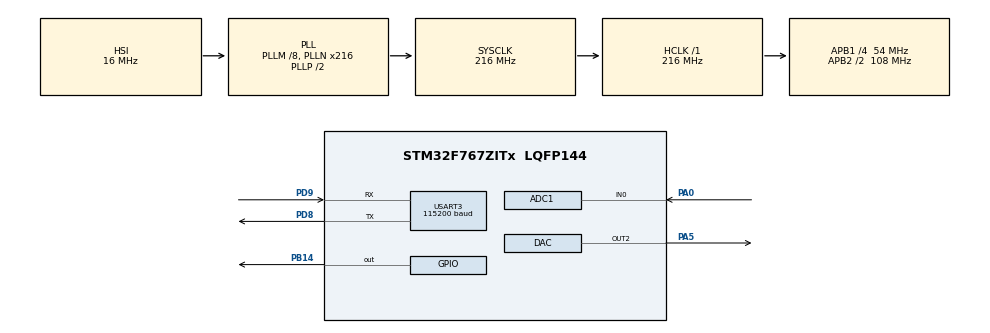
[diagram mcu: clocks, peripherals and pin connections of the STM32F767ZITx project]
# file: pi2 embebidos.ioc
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ADC1.Channel-2\#ChannelRegularConversion=ADC_CHANNEL_0
ADC1.NbrOfConversionFlag=1
ADC1.Rank-2\#ChannelRegularConversion=1
ADC1.SamplingTime-2\#ChannelRegularConversion=ADC_SAMPLETIME_3CYCLES
ADC1.master=1
DAC.DAC_Trigger2=DAC_TRIGGER_T2_TRGO
Dma.DAC2.0.Direction=DMA_MEMORY_TO_PERIPH
Dma.DAC2.0.FIFOMode=DMA_FIFOMODE_DISABLE
Dma.DAC2.0.Instance=DMA1_Stream6
Dma.DAC2.0.MemDataAlignment=DMA_MDATAALIGN_WORD
Dma.DAC2.0.MemInc=DMA_MINC_ENABLE
Dma.DAC2.0.Mode=DMA_CIRCULAR
Dma.DAC2.0.PeriphDataAlignment=DMA_PDATAALIGN_WORD
Dma.DAC2.0.PeriphInc=DMA_PINC_DISABLE
Dma.DAC2.0.Priority=DMA_PRIORITY_VERY_HIGH
Dma.Request0=DAC2
Mcu.Family=STM32F7
Mcu.Name=STM32F767ZITx
Mcu.Package=LQFP144
NVIC.ADC_IRQn=true\:0\:0\:false\:false\:true\:true\:true\:true
NVIC.DMA1_Stream6_IRQn=true\:0\:0\:false\:false\:true\:false\:true\:true
NVIC.PriorityGroup=NVIC_PRIORITYGROUP_4
NVIC.TIM2_IRQn=true\:0\:0\:false\:false\:true\:true\:true\:true
NVIC.TIM3_IRQn=true\:0\:0\:false\:false\:true\:true\:true\:true
NVIC.TIM4_IRQn=true\:0\:0\:false\:false\:true\:true\:true\:true
NVIC.USART3_IRQn=true\:0\:0\:false\:false\:true\:true\:true\:true
PA0/WKUP.Signal=ADCx_IN0
PA5.Signal=COMP_DAC2_group
PB14.Signal=GPIO_Output
PD8.Mode=Asynchronous
PD8.Signal=USART3_TX
PD9.Mode=Asynchronous
PD9.Signal=USART3_RX
ProjectManager.HeapSize=0x200
ProjectManager.StackSize=0x400
ProjectManager.TargetToolchain=STM32CubeIDE
RCC.AHBFreq_Value=216000000
RCC.APB1CLKDivider=RCC_HCLK_DIV4
RCC.APB1Freq_Value=54000000
RCC.APB1TimFreq_Value=108000000
RCC.APB2CLKDivider=RCC_HCLK_DIV2
RCC.APB2Freq_Value=108000000
RCC.APB2TimFreq_Value=216000000
RCC.CortexFreq_Value=216000000
RCC.HCLKFreq_Value=216000000
RCC.HSE_VALUE=25000000
RCC.HSI_VALUE=16000000
RCC.LSE_VALUE=32768
RCC.PLLM=8
RCC.PLLN=216
RCC.SYSCLKFreq_VALUE=216000000
RCC.SYSCLKSource=RCC_SYSCLKSOURCE_PLLCLK
RCC.USBFreq_Value=216000000
RCC.VCOOutputFreq_Value=432000000
SH.ADCx_IN0.0=ADC3_IN0
SH.ADCx_IN0.1=ADC1_IN0,IN0
SH.COMP_DAC2_group.0=DAC_OUT2,DAC_OUT2
TIM2.Period=36000-1
TIM2.Prescaler=1-1
TIM2.TIM_MasterOutputTrigger=TIM_TRGO_UPDATE
TIM3.Period=10799
TIM3.Prescaler=0
TIM4.Prescaler=1000
USART3.BaudRate=115200
USART3.VirtualMode-Asynchronous=VM_ASYNC
VP_TIM2_VS_ClockSourceINT.Mode=Internal
VP_TIM3_VS_ClockSourceINT.Mode=Internal
VP_TIM4_VS_ClockSourceINT.Mode=Internal
board=custom

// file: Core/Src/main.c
/* USER CODE BEGIN Header */
/**
  ******************************************************************************
  * @file           : main.c
  * @brief          : Main program body
  ******************************************************************************
  * @attention
  *
  * Copyright (c) 2023 STMicroelectronics.
  * All rights reserved.
  *
  * This software is licensed under terms that can be found in the LICENSE file
  * in the root directory of this software component.
  * If no LICENSE file comes with this software, it is provided AS-IS.
  *
  ******************************************************************************
  */
/* USER CODE END Header */
#include "main.h"
#include "adc.h"
#include "dac.h"
#include "dma.h"
#include "tim.h"
#include "usart.h"
#include "gpio.h"

/* USER CODE BEGIN Includes */
#include <stdio.h>
#include <string.h>
#include <stdlib.h>
#include <ctype.h>
#include <math.h>
#include "signal.h"
/* USER CODE END Includes */

/* USER CODE BEGIN PD */
#define RCC_base 0x40023800
#define GPIOA_base 0x40020000
#define GPIOAEN_Pos 0
#define GPIOxEN 1
#define nMODER_INPUT 0b11
#define OSPEEDRx 0b10
#define MODER_OUTPUT 0b01
/* USER CODE END PD */

/* USER CODE BEGIN PV */
uint32_t *ptr_RCC_RCC_AHB1ENR = RCC_base + 0x30; //os gpio's estao todos pendurados no AHB1 que tem offset de 0x30 em relação ao endereço base do RCC
uint32_t *ptr_GPIOx_GPIOx_MODER;
uint32_t *ptr_GPIOx_GPIOx_OSPEEDR;
uint32_t *ptr_GPIOx_GPIOx_IDR;
uint32_t *ptr_GPIOx_GPIOx_ODR;
uint32_t GPIOx_base;
uint32_t Samples;
uint32_t ADC_counter = 0;
uint8_t  can_print = 0;
volatile double ADC_Buffer[500];

/* USER CODE END PV */

void SystemClock_Config(void);
/* USER CODE BEGIN PFP */
void missing_arg(int x);
int __io_putchar(int ch)
{
	HAL_UART_Transmit(&huart3, (uint8_t *)&ch, 1, HAL_MAX_DELAY);
	return ch;
}
int __io_getchar(void)
{
	uint8_t ch = 0;
	__HAL_UART_CLEAR_OREFLAG(&huart3);
	HAL_UART_Receive(&huart3, (uint8_t *)&ch, 1, HAL_MAX_DELAY);
	HAL_UART_Transmit(&huart3, (uint8_t *)&ch, 1, HAL_MAX_DELAY);
	return ch;
}
/* USER CODE END PFP */

/* USER CODE BEGIN 0 */

static int Hexa_to_bin(int hexa,char setting)
	{
		itoa(hexa,setting,2);						//passa de hexadecimal para string em binario
		return strtoul(setting, NULL, 2);			//passa de string em binario para int binario
	}
void comandos(char* INPUT)
{
if(flag_RX == 1){
	const char* time_units[5]={"s","ms","us","ns"};
	const char* KEYS[18] = {"empty","MR","MW","MI","MO","RD","WD","RA","WG","SP","AC","S","ST","\b","ESC","$","?","VER"};
	const char* WAVES[6] = {"empty","SIN","SQR","TRI","STW","OFF"};
	const char DIVISON[1]= ".";
	char *arg_char[5];
	char *token;
	char SettingChar[17];
	char ValueChar;
	int arg_Hexa[4];
	int arg_Dec;
	static int index=0;
    int counter = 0;
	static int state;
	int Wave_state;
	int bit;
	int Port_num;
	unsigned long int SettingINT;
	unsigned long int ValueINT;
	static double Samp_Per;

	uint8_t *Mem_ptr;

	flag_RX=0;

int missing_arg(int args)
	{
		if(counter != args)
		{
			state = 0;
			printf("[ERRO]\r\n");
			return 1;
		}
	}

	token = strtok(INPUT,DIVISON);							 //separa as letras dos numeros
	arg_char[0] = token;
	for(index = 0;index< strlen(arg_char[0]);index++)
	{
		arg_char[0][index] = toupper(arg_char[0][index]);	 // garante que todas as letras sejam maiusculas
	}
	while (token != NULL) 									 // guarda as variaveis arg[1],[2]e[3]
		{

			token = strtok(NULL,DIVISON);
			counter ++;
			arg_char[counter] = token;
		}
	if(counter == 1){                   					// Quando so recebe uma palavra (VER,?,$..) coloca o ultimo caracter a null para a string ficar apenas com os digitos que tambem tem no array
		arg_char[0][strlen(arg_char[0])-1] = '\0';
	}

	for(index=1;index<=17;index++) 							//decide o estado se o valor introduzido for igual a algum do array
		{

			if( strcmp(arg_char[0],KEYS[index]) == 0)
				{
					state = index;
				}
		}

	for (index=0;index<3;index++) //passa as variaveis de char* para um array de inteiros hexadecimais
		{

			arg_Hexa[index] = strtol(arg_char[index+1], NULL, 16); //converte a string num numero de base 16(hexadecimal)

		}
	switch(state)
	{
		case 1:	// MEMORY READ (MR) MR.1.2
			 if (missing_arg(3)==1) {
			            break; 							   // Sai do switch case se ocorrer um erro na função
			        }

			Mem_ptr = arg_Hexa[0];
			for (index =0; index < arg_Hexa[1];index++)
				{
					printf("O endereco %p contem [%x]\r\n",Mem_ptr++,*Mem_ptr);
				}
		//	printf("O programa vai ler %s posicoes de memoria, a partir do endereco %s\r\n", arg[1], arg[2]);
			state = 0;
			break;
		case 2:	// MEMORY WRITE(MW)
			 if (missing_arg(4)==1) {
			            break; 							   // Sai do switch case se ocorrer um erro na função
			        }

			Mem_ptr = arg_Hexa[0]+1;
			(arg_Hexa[2]>0xFF)?arg_Hexa[2]= 0xFF:arg_Hexa[2];
			for(index = 0; index<arg_Hexa[1];index++)
				{
					*Mem_ptr = arg_Hexa[2];
					Mem_ptr++;
				}
			printf("A palavra de 8 bits %d,foi escrita a partir da posicao de memoria %x durante %d posicoes\r\n",arg_Hexa[2] , arg_Hexa[0],arg_Hexa[1]);
			state = 0;
			break;

		case 3:	// MAKE PIN INPUT(MI)
			 if (missing_arg(3)==1) {
			            break; 							   // Sai do switch case se ocorrer um erro na função
			        }
			(arg_Hexa[0]>0x0A)?arg_Hexa[0]= 0x0A:arg_Hexa[0]; 		// garante q o numero seja no maximo 0x0A que corresponde a porta K.

			Port_num = arg_Hexa[0];

			*ptr_RCC_RCC_AHB1ENR |= GPIOxEN << Port_num;
			ptr_GPIOx_GPIOx_MODER = GPIOA_base +(0x400*arg_Hexa[0]) ; 				//Moder tem offset = 0x0

			SettingINT = Hexa_to_bin(arg_Hexa[1],SettingChar);
			for(index=0;index<9;index++)
				{
					if( SettingINT & (1 << (index)))
					{
						bit = 2*index;
						*ptr_GPIOx_GPIOx_MODER &= ~(nMODER_INPUT << bit);
						printf("O pino P%c%d foi definido como entrada.\r\n",Port_num+65, index);
					}
			}
			state = 0;
			break;

		case 4:	// MAKE PIN OUTPUT(MO)
			 if (missing_arg(3)==1) {
			            break; 							   // Sai do switch case se nao receber o nº de argumentos necessarios
			        }
			(arg_Hexa[0]>0x0A)?arg_Hexa[0]= 0x0A:arg_Hexa[0]; 		// garante q o numero seja no maximo 0x0A que corresponde a porta K.

			Port_num = arg_Hexa[0];
			*ptr_RCC_RCC_AHB1ENR |= GPIOxEN << Port_num;

			ptr_GPIOx_GPIOx_MODER = GPIOA_base + (0x400*arg_Hexa[0]); 				//Moder tem offset = 0x0
			ptr_GPIOx_GPIOx_OSPEEDR = GPIOA_base + (0x400*arg_Hexa[0])+ 0x08;

			SettingINT = Hexa_to_bin(arg_Hexa[1],SettingChar);
			for(index=0;index<9;index++)
				{

					if(SettingINT & (1<<(index)))
					{

						bit = 2*index;
						*ptr_GPIOx_GPIOx_MODER |= ((MODER_OUTPUT) << bit);
						*ptr_GPIOx_GPIOx_OSPEEDR |= ((OSPEEDRx) << bit);
						printf("O pino P%c%d foi definido como saida.\r\n",Port_num+65, index);

					}
				}

			state = 0;
			break;

		case 5:	// READ DIGITAL INPUT	(RD)
			 if (missing_arg(3)==1) {
			            break; 							   			// Sai do switch case se ocorrer um erro na função
			        }
			 Port_num =arg_Hexa[0];
			(arg_Hexa[0]>0x0A)? arg_Hexa[0]= 0x0A : arg_Hexa[0]; 	// Garante q o numero do GPIO seja no maximo 0x0A que corresponde a porta K.
			SettingINT = Hexa_to_bin(arg_Hexa[1],SettingChar);		//

			for(index=0;index<9;index++)
				{
					if(SettingINT & (1<<(index)))
					{
						GPIOx_base = GPIOA_base+(0x400*arg_Hexa[0]);
						GPIO_InitTypeDef GPIO_InitStruct = {0};
						GPIO_InitStruct.Pin = 0x01<<index;
						GPIO_InitStruct.Mode = GPIO_MODE_INPUT;
						GPIO_InitStruct.Pull = GPIO_NOPULL;
						HAL_GPIO_Init(GPIOx_base, &GPIO_InitStruct);
						printf("P%c%d = %d\r\n",Port_num+65, index, HAL_GPIO_ReadPin(GPIOx_base, 0x01<<index)); //
					}
				}

			state = 0;
			break;

		case 6:	// WRITE DIGITAL INPUT	(WD)
			 if (missing_arg(4)==1) {
			            break; 							   // Sai do switch case se ocorrer um erro na função
			        }
			 Port_num =arg_Hexa[0];
			(arg_Hexa[0]>0x0A)?arg_Hexa[0]= 0x0A:arg_Hexa[0]; 		// garante q o numero seja no maximo 0x0A que corresponde a porta K.

			SettingINT = Hexa_to_bin(arg_Hexa[1],SettingChar);
			ValueINT = Hexa_to_bin(arg_Hexa[2],ValueChar);

			for(index=0;index<9;index++)		// 001010
										// 000010
				{
					if(SettingINT & (1<<(index)))
					{
						GPIOx_base = GPIOA_base+(0x400*arg_Hexa[0]);
						GPIO_InitTypeDef GPIO_InitStruct = {0};

						GPIO_InitStruct.Mode = GPIO_MODE_OUTPUT_PP;
						GPIO_InitStruct.Pull = GPIO_NOPULL;
						GPIO_InitStruct.Speed = GPIO_SPEED_FREQ_LOW;

						if(ValueINT & (1<<(index)))
						{
							GPIO_InitStruct.Pin = (0x01<<index);

							HAL_GPIO_Init(GPIOx_base, &GPIO_InitStruct);
							HAL_GPIO_WritePin(GPIOx_base, 0x01<<index,SET);
							printf("P%c%d = 1\r\n",Port_num+65,index);
						}
						else{
							GPIO_InitStruct.Pin = (0x01<<index);
							HAL_GPIO_Init(GPIOx_base, &GPIO_InitStruct);
							HAL_GPIO_WritePin(GPIOx_base, 0x01<<index,RESET);
							printf("P%c%d = 0\r\n",Port_num+65,index);
						}
					}
				}

			state = 0;
			break;

		case 7:	// ANALOG READ	(RA)
			 if (missing_arg(2)==1 || arg_Hexa[0] > 0XF || arg_Hexa[0]< 0) {
			            break; 							   // Sai do switch case se ocorrer um erro na função
			        }

			ptr_GPIOx_GPIOx_MODER = GPIOA_base;
			*ptr_RCC_RCC_AHB1ENR |= ((GPIOxEN) << 0);//configuração do RCC (clock do adc)
			*ptr_GPIOx_GPIOx_MODER |=(0b11 << arg_Hexa[0]*2);

			ADC_ChannelConfTypeDef sConfig = {0};
			sConfig.Channel = arg_Hexa[0];
			sConfig.Rank = ADC_REGULAR_RANK_1;
			sConfig.SamplingTime = ADC_SAMPLETIME_3CYCLES;

			if (HAL_ADC_ConfigChannel(&hadc1, &sConfig) != HAL_OK)
			{
				Error_Handler();
			}
			can_print = 1;
			Samples = 1;
			HAL_ADC_Start_IT(&hadc1);
			ADC_counter = 0;
			state = 0;
			break;
		case 8:		// WAVE GENERATOR
				for(index = 0;index< strlen(arg_char[1]);index++) 		// garante que todas as letras sejam maiusculas
	 				{
						arg_char[1][index] = toupper(arg_char[1][index]);
	 				}

				if(counter == 2){                   					// Quando so recebe uma palavra (VER,?,$,OFF..) coloca o ultimo caracter a null para a string ficar apenas com os digitos que tambem tem no array
						arg_char[1][strlen(arg_char[1])-1] = '\0';
					}
				for(index=1;index<=5;index++) 							//decide o estado seguinte, se o valor introduzido for igual a algum do array
					{
						if( strcmp(arg_char[1],WAVES[index]) == 0){
								Wave_state = index;
							}
					}
				if(((arg_Hexa[1]<0X01) || (arg_Hexa[1]>0X64)) && Wave_state !=5 ){
						Wave_state= 0;
					}
				switch(Wave_state)
					{
						case 1:
							wavegen_init();
							wavegen_freq_update(arg_Hexa[1]);
							wavegen_sin();
							wavegen_start();
							printf("--------Onda Sinosoidal com frequencia de %dHz--------\r\n",arg_Hexa[1]);
							Wave_state = 0;
							break;
						case 2:
							wavegen_init();
							wavegen_freq_update(arg_Hexa[1]);
							wavegen_sqr();
							wavegen_start();
							printf("--------Onda Quadrada com frequencia de %dHz--------\r\n",arg_Hexa[1]);
							Wave_state = 0;
							break;
						case 3:
							wavegen_init();
							wavegen_freq_update(arg_Hexa[1]);
							wavegen_tri();
							wavegen_start();
							printf("--------Onda Triangular com frequencia de %dHz--------\r\n",arg_Hexa[1]);
							Wave_state = 0;
							break;
						case 4:
							wavegen_init();
							wavegen_freq_update(arg_Hexa[1]);
							wavegen_stw();
							wavegen_start();
							printf("--------Onda Dente-de-Serra com frequencia de %dHz--------\r\n",arg_Hexa[1]);
							Wave_state = 0;
							break;
						case 5:
							wavegen_stop();
							printf("--------Onda OFF--------\r\n");
							Wave_state = 0;
							break;
						default:    // ERROR
							printf("[ERRO]\r\n");
							break;
					}
				state = 0;
				break;
		case 9:		// PERIODO DE AMOSTRAGEM (SP)
			for(index = 0;index< strlen(arg_char[1]);index++)
			{
				arg_char[1][index] = tolower(arg_char[1][index]);	 // garante que todas as letras sejam maiusculas
			}
			for(index = 0;index < 4;index++)
			{
				if(strcmp(arg_char[1],time_units[index])==0)
				{
					arg_Dec = atoi(arg_char[2]);
					Samp_Per = arg_Dec/pow(1000,index);
					printf("--------Frequencia de %.1fHz (periodo de %d%s)--------\r\n",(1/Samp_Per),arg_Dec,arg_char[1]);
					Sampling_freq_update(1/Samp_Per);
				}
			}
			state = 0;
			break;
	    case 10:		// CANAL ADC (AC)

			 if (missing_arg(2)==1 || arg_Hexa[0] > 0XF || arg_Hexa[0]< 0) {
			            break; 							   // Sai do switch case se ocorrer um erro na função
			        }
			ptr_GPIOx_GPIOx_MODER = GPIOA_base;
			*ptr_RCC_RCC_AHB1ENR |= ((GPIOxEN) << 0);//configuração do RCC (clock do adc)
			*ptr_GPIOx_GPIOx_MODER |=(0b11 << arg_Hexa[0]*2);

			//ADC_ChannelConfTypeDef sConfig = {0};
			sConfig.Channel = arg_Hexa[0];
			sConfig.Rank = ADC_REGULAR_RANK_1;
			sConfig.SamplingTime = ADC_SAMPLETIME_3CYCLES;

			if (HAL_ADC_ConfigChannel(&hadc1, &sConfig) != HAL_OK)
				{
					Error_Handler();
				}
			printf("--------Selecionou o pino PA%d--------\r\n",arg_Hexa[0]);

			state = 0;
			break;
		case 11:		// INICIAR AQUISIÇÃO DE DADOS COM OU SEM LIMITE	(S OU S.x)

			if(counter == 1)
				{
					Samples = 0;
				 	HAL_TIM_Base_Start_IT(&htim3);
				}
			else if(counter == 2)
				{
					Samples = atoi(arg_char[1]);
					HAL_TIM_Base_Start_IT(&htim3);
				}
			state =0;
			break;
		case 12:		// PARA A AQUISIÇÃO DE DADOS (ST)
			printf("--------Sampling Stopped--------\r\n");
			HAL_TIM_Base_Stop_IT(&htim3);
			can_print = 1;
			ADC_counter = 0;
			state = 0;
			break;
		case 13:		// CLEAN LAST CHAR 	(<BCKSP>)
			printf("");
			state = 0;
			break;
		case 14:	// CLEAN STRINGs 	(<ESC>)
			printf("");
			state = 0;
			break;
		case 15:	// CLEAN STRINGs and repeat last one ($)
			printf("");
			state = 0;
			break;
		case 16:	// HELP 	(?)
			printf("Help Menu:\r\n");
			printf("\"MR\" - Memory Read (ex:MR.<addr>.<length>)\r\n");
			printf("\"MW\" - Memory Write (ex:MW.<addr>.<length>.<NUM>)\r\n");
			printf("\"MI\" - Make pin Input (ex:MI.<port(0..0A)>.<pin setting>)\r\n");
			printf("\"MO\" - Make pin Output (ex:MO.<port(0..0A)>.<pin setting>)\r\n");
			printf("\"RD\" - Read Digital Input (ex:RD.<port(0..0A)>.<pin setting>)\r\n");
			printf("\"WD\" - Write Digital Output (ex:WD.<port(0..0A)>.<pin setting>.<pin values>)\r\n");
			printf("\"RA\" - Read Analog (ADC) (ex:RA.<ADC_CH(0..F)>\r\n");
			printf("\"WG\" - Wave Generator (ex:wg.<wave_type>.<freq>)\r\n");
			printf("\"SP\" - Sampling Period (ex:SP.<timeunit>.<units>)\r\n");
			printf("\"AC\" - Analog Channel (ex:AC.<add3>)\r\n");
			printf("\"WG\" - Sample (ex:S)\r\n");
			printf("\"WG\" - Sample Only K Values(ex:S.<dig>)\r\n");
			printf("\"ST\" - Stop Sampling (ex:ST)\r\n");
			printf("\"<BCKSP>\" - Backspace\r\n");
			printf("\"<ESC>\" - Clean all characters received\r\n");
			printf("\"$\" - Clean all characters received and repeat the last one\r\n");
			printf("\"?\" - Display all valid commands\r\n");
			printf("\"VER\"- Firmware Version, our class number and work group \r\n");
			state = 0;
			break;
		case 17:
			printf("v3.0 [PL2 group9] - PI2 LEEIC2023\r\n");
			state = 0;
			break;
		default:    // ERROR
			printf("[ERRO]\r\n");
			break;
	}
	printf(">\r\n");
  }

}

/* USER CODE END 0 */

int main(void)
{

  /* MCU Configuration--------------------------------------------------------*/

  /* Reset of all peripherals, Initializes the Flash interface and the Systick. */
  HAL_Init();

  /* Configure the system clock */
  SystemClock_Config();

  /* Initialize all configured peripherals */
  MX_GPIO_Init();
  MX_DMA_Init();
  MX_TIM4_Init();
  MX_ADC1_Init();
  MX_DAC_Init();
  MX_USART3_UART_Init();
  MX_TIM2_Init();
  MX_TIM3_Init();
  /* USER CODE BEGIN 2 */
  init_UART3();
  HAL_TIM_Base_Start_IT(&htim4);
  setvbuf(stdin,NULL,_IONBF,0);

  printf(">\r\n");
  /* USER CODE END 2 */

  /* Infinite loop */
  while (1)
  {

    /* USER CODE BEGIN 3 */
	  comandos(newMessage());
	  if(can_print == 1)
		  {
		      can_print = 0;
		  	  for(int x = 0;x<Samples ;x++)
		  	  {
		  		 printf("%.2f\r\n",ADC_Buffer[x]);
		  	  }
		  }

  }
  /* USER CODE END 3 */
}

void SystemClock_Config(void)
{
  RCC_OscInitTypeDef RCC_OscInitStruct = {0};
  RCC_ClkInitTypeDef RCC_ClkInitStruct = {0};

  /** Configure the main internal regulator output voltage
  */
  __HAL_RCC_PWR_CLK_ENABLE();
  __HAL_PWR_VOLTAGESCALING_CONFIG(PWR_REGULATOR_VOLTAGE_SCALE1);

  /** Initializes the RCC Oscillators according to the specified parameters
  * in the RCC_OscInitTypeDef structure.
  */
  RCC_OscInitStruct.OscillatorType = RCC_OSCILLATORTYPE_HSI;
  RCC_OscInitStruct.HSIState = RCC_HSI_ON;
  RCC_OscInitStruct.HSICalibrationValue = RCC_HSICALIBRATION_DEFAULT;
  RCC_OscInitStruct.PLL.PLLState = RCC_PLL_ON;
  RCC_OscInitStruct.PLL.PLLSource = RCC_PLLSOURCE_HSI;
  RCC_OscInitStruct.PLL.PLLM = 8;
  RCC_OscInitStruct.PLL.PLLN = 216;
  RCC_OscInitStruct.PLL.PLLP = RCC_PLLP_DIV2;
  RCC_OscInitStruct.PLL.PLLQ = 2;
  RCC_OscInitStruct.PLL.PLLR = 2;
  if (HAL_RCC_OscConfig(&RCC_OscInitStruct) != HAL_OK)
  {
    Error_Handler();
  }

  /** Activate the Over-Drive mode
  */
  if (HAL_PWREx_EnableOverDrive() != HAL_OK)
  {
    Error_Handler();
  }

  /** Initializes the CPU, AHB and APB buses clocks
  */
  RCC_ClkInitStruct.ClockType = RCC_CLOCKTYPE_HCLK|RCC_CLOCKTYPE_SYSCLK
                              |RCC_CLOCKTYPE_PCLK1|RCC_CLOCKTYPE_PCLK2;
  RCC_ClkInitStruct.SYSCLKSource = RCC_SYSCLKSOURCE_PLLCLK;
  RCC_ClkInitStruct.AHBCLKDivider = RCC_SYSCLK_DIV1;
  RCC_ClkInitStruct.APB1CLKDivider = RCC_HCLK_DIV4;
  RCC_ClkInitStruct.APB2CLKDivider = RCC_HCLK_DIV2;

  if (HAL_RCC_ClockConfig(&RCC_ClkInitStruct, FLASH_LATENCY_7) != HAL_OK)
  {
    Error_Handler();
  }
}

void Error_Handler(void)
{
  __disable_irq();
  while (1)
  {
  }
}
